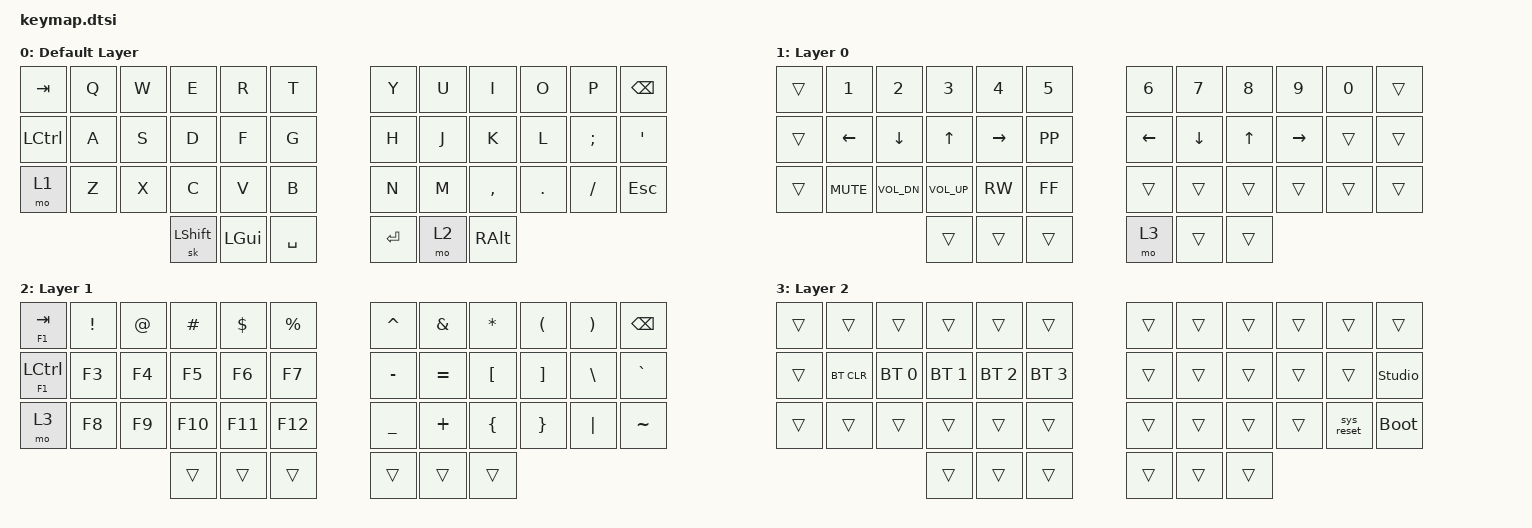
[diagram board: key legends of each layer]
#include <behaviors.dtsi>
#include <dt-bindings/zmk/keys.h>
#include <dt-bindings/zmk/bt.h>

#define MAC 0
#define MAC_CODE 1
#define MAC_NUMBER 2
#define MAC_FUNCTION 3
#define WINDOWS 4
#define WINDOWS_CODE 5
#define WINDOWS_NUMBER 6
#define WINDOWS_FUNCTION 7

/ {
    macros {
        spotlight: spotlight {
            label = "spotlight";
            compatible = "zmk,behavior-macro";
            #binding-cells = <0>;
            bindings = <&macro_press &kp LGUI>, <&macro_tap &kp SPACE>, <&macro_release &kp LGUI>; 
        };

        // Emoji
        mac_emoji: mac_emoji {
            label = "mac_emoji";
            compatible = "zmk,behavior-macro";
            #binding-cells = <0>;
            bindings = <&macro_press &kp LGUI>, <&macro_press &kp LCTRL>, <&macro_tap &kp SPACE>, <&macro_release &kp LCTRL>, <&macro_release &kp LGUI>; 
        };

        windows_emoji: windows_emoji {
            label = "windows_emoji";
            compatible = "zmk,behavior-macro";
            #binding-cells = <0>;
            bindings = <&macro_press &kp LGUI>, <&macro_tap &kp DOT>, <&macro_release &kp LGUI>; 
        };

        software_off: software_off {
            compatible = "zmk,behavior-tap-dance";
            label = "Software Off";
            #binding-cells = <0>;
            bindings = <&soft_off>;
        };
    };

    behaviors {
        bm: bottom_row_mods {
            compatible = "zmk,behavior-hold-tap";
            label = "BOTTOM_ROW_MODS";
            #binding-cells = <2>;
            tapping-term-ms = <135>;
            quick-tap-ms = <0>;
            flavor = "tap-preferred";
            bindings = <&kp>, <&kp>;
        };

        cm: code_row_mods {
            compatible = "zmk,behavior-hold-tap";
            label = "CODE_ROW_MODS";
            #binding-cells = <2>;
            tapping-term-ms = <200>;
            quick-tap-ms = <0>;
            flavor = "tap-preferred";
            bindings = <&kp>, <&kp>;
            retro-tap;
        };

        sm: space_mod {
            compatible = "zmk,behavior-hold-tap";
            label = "SPACE_MOD";
            #binding-cells = <2>;
            flavor = "balanced";
            tapping-term-ms = <200>;
            quick-tap-ms = <125>;
            bindings = <&kp>, <&kp>;
        };

        td_multi_mac: tap_dance_multi_mac {
            compatible = "zmk,behavior-tap-dance";
            label = "TAP_DANCE_MULTI_MAC";
            #binding-cells = <0>;
            tapping-term-ms = <200>;
            bindings = <&sm ESC LALT>, <&spotlight>, <&kp LCTRL>, <&mac_emoji>;
        };

        td_multi_windows: tap_dance_multi_windows {
            compatible = "zmk,behavior-tap-dance";
            label = "TAP_DANCE_MULTI_WINDOWS";
            #binding-cells = <0>;
            tapping-term-ms = <200>;
            bindings = <&sm ESC LALT>, <&kp LGUI>, <&windows_emoji>;
        };
    };

    keymap {
        compatible = "zmk,keymap";

            base_layer {
                display-name = "Default Layer";
                // -----------------------------------------------------------------------------------------
                // | TAB  |  Q  |  W  |  E   |  R  |  T  |   |  Y  |  U   |  I  |  O  |  P  | BSPC |
                // | CTRL |  A  |  S  |  D   |  F  |  G  |   |  H  |  J   |  K  |  L  |  ;  |  '   |
                // | LW0  |  Z  |  X  |  C   |  V  |  B  |   |  N  |  M   |  ,  |  .  |  /  | ESC  |
                //                    | SHFT | GUI | SPC |   | ENT | LW1  | ALT |
                bindings = <
                    &kp TAB   &kp Q &kp W &kp E &kp R &kp T              &kp Y &kp U  &kp I     &kp O   &kp P    &kp BSPC
                    &kp LCTRL &kp A &kp S &kp D &kp F &kp G              &kp H &kp J  &kp K     &kp L   &kp SEMI &kp SQT
                    &mo 1     &kp Z &kp X &kp C &kp V &kp B              &kp N &kp M  &kp COMMA &kp DOT &kp FSLH &kp ESC
                               &sk LSHFT &kp LGUI &kp SPACE              &kp RET &mo 2 &kp RALT
                >;
            };

            layer_0 {
                display-name = "Layer 0";
                // -----------------------------------------------------------------------------------------
                // |     |  1  |  2  |  3  |  4  |  5   |   |  6  |  7  |  8  |  9  |  0  |     |
                // |     | LFT | DWN |  UP | RGT | PLAY |   | LFT | DWN |  UP | RGT |     |     |
                // |     | V_m |  V- |  V+ | RWD | FWD  |   |     |     |     |     |     |     |
                //                   |     |     |      |   |     | LW2 |     |
                bindings = <
                    &trans &kp N1      &kp N2       &kp N3       &kp N4    &kp N5       &kp N6   &kp N7   &kp N8 &kp N9    &kp N0 &trans     
                    &trans &kp LEFT    &kp DOWN     &kp UP       &kp RIGHT &kp K_PP     &kp LEFT &kp DOWN &kp UP &kp RIGHT &trans &trans     
                    &trans &kp C_MUTE  &kp C_VOL_DN &kp C_VOL_UP &kp C_RW  &kp C_FF     &trans   &trans   &trans &trans    &trans &trans     
                                                    &trans       &trans    &trans       &mo 3    &trans   &trans
                >; 
            };

            layer_1 {
                display-name = "Layer 1";
                // -----------------------------------------------------------------------------------------
                // | F1/TAB  |  !  |  @  |  #  |  $   |  %  |   |  ^  |  &  |  *  |  (  |  )  | BSPC |
                // | F2/CTRL | F3  | F4  | F5  | F6   | F7  |   |  -  |  =  |  [  |  ]  |  \  |  `   |
                // | LW2     | F8  | F9  | F10 | F11  | F12 |   |  _  |  +  |  {  |  }  | "|" |  ~   |
                //                       |     |      |     |   |     |     |     |
                bindings = <
                    &mt F1 TAB   &kp EXCL &kp AT &kp HASH  &kp DLLR  &kp PRCNT     &kp CARET &kp AMPS  &kp ASTRK &kp LPAR &kp RPAR &kp BSPC
                    &mt F1 LCTRL &kp F3   &kp F4 &kp F5    &kp F6    &kp F7        &kp MINUS &kp EQUAL &kp LBKT  &kp RBKT &kp BSLH &kp GRAVE
                    &mo 3        &kp F8   &kp F9 &kp F10   &kp F11   &kp F12       &kp UNDER &kp PLUS  &kp LBRC  &kp RBRC &kp PIPE &kp TILDE
                                                 &trans    &trans    &trans        &trans    &trans    &trans
                >;
            };

            layer_2 {
                display-name = "Layer 2";
                // -----------------------------------------------------------------------------------------
                // | TAB  |       |     |     |     |     |   |     |     |     |     |       |             |
                // | CTRL | BTCLR | BT0 | BT1 | BT2 | BT3 |   |     |     |     |     |       | studo unlck |
                // |      |       |     |     |     |     |   |     |     |     |     | reset | booloader   |
                //                      |     |     |     |   |     |     |     |
                bindings = <
                    &trans &trans     &trans       &trans       &trans       &trans             &trans &trans &trans &trans &trans        &trans     
                    &trans &bt BT_CLR &bt BT_SEL 0 &bt BT_SEL 1 &bt BT_SEL 2 &bt BT_SEL 3       &trans &trans &trans &trans &trans        &studio_unlock
                    &trans &trans     &trans       &trans       &trans       &trans             &trans &trans &trans &trans &kp sys_reset &bootloader
                                                   &trans       &trans       &trans             &trans &trans &trans
                >;
            };

            layer_3 {
                display-name = "Layer 3";
                status = "reserved";
            };

            layer_4 {
                display-name = "Layer 4";
                status = "reserved";
            };

            layer_5 {
                display-name = "Layer 5";
                status = "reserved";
            };

            layer_6 {
                display-name = "Layer 6";
                status = "reserved";
            };

            layer_7 {
                display-name = "Layer 7";
                status = "reserved";
            };
    };
};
